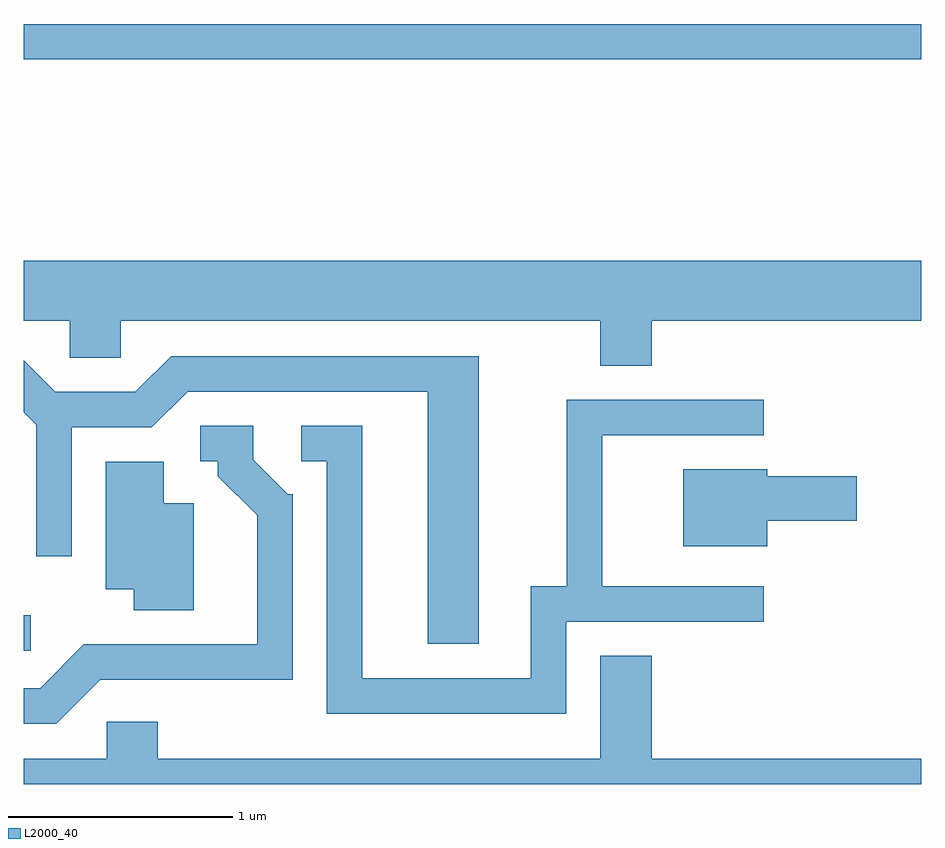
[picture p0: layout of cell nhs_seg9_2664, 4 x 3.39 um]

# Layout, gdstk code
import gdstk
lib = gdstk.Library(unit=1e-6, precision=1e-09)
def R(c, l, rs):  # rectangles x0, y0, x1, y1
    for r in rs: c.add(gdstk.rectangle(r[:2], r[2:], *l))
def P(c, l, *ps):  # polygons
    for p in ps: c.add(gdstk.Polygon(p, *l))
L2000_40 = (2000, 40)

nhs_seg9_2664 = lib.new_cell('nhs_seg9_2664')
R(nhs_seg9_2664, L2000_40, [(263.611,1977.026,263.643,1977.184), (263.611,1979.661,267.611,1979.819)])
P(nhs_seg9_2664, L2000_40, [(266.409,1978.496),(267.611,1978.496),(267.611,1978.764),(263.611,1978.764),(263.611,1978.496),(263.816,1978.496),(263.816,1978.331),(264.044,1978.331),(264.044,1978.496),(266.181,1978.496),(266.181,1978.296),(266.409,1978.296)],
  [(265.639,1978.339),(264.269,1978.339),(264.109,1978.179),(263.752,1978.179),(263.611,1978.32),(263.611,1978.089),(263.666,1978.034),(263.666,1977.448),(263.824,1977.448),(263.824,1978.021),(264.182,1978.021),(264.342,1978.181),(265.411,1978.181),(265.411,1977.056),(265.639,1977.056)],
  [(266.029,1977.156),(266.908,1977.156),(266.908,1977.314),(266.189,1977.314),(266.189,1977.986),(266.908,1977.986),(266.908,1978.144),(266.031,1978.144),(266.031,1977.314),(265.871,1977.314),(265.871,1976.904),(265.119,1976.904),(265.119,1978.029),(264.848,1978.029),(264.848,1977.871),(264.961,1977.871),(264.961,1976.746),(266.029,1976.746)],
  [(263.952,1976.896),(264.809,1976.896),(264.809,1977.724),(264.787,1977.724),(264.634,1977.877),(264.634,1978.029),(264.398,1978.029),(264.398,1977.871),(264.476,1977.871),(264.476,1977.804),(264.651,1977.629),(264.651,1977.054),(263.879,1977.054),(263.684,1976.859),(263.611,1976.859),(263.611,1976.701),(263.757,1976.701)],
  [(264.369,1977.684),(264.234,1977.684),(264.234,1977.869),(263.976,1977.869),(263.976,1977.301),(264.101,1977.301),(264.101,1977.206),(264.369,1977.206)],
  [(266.924,1977.606),(267.324,1977.606),(267.324,1977.804),(266.924,1977.804),(266.924,1977.834),(266.551,1977.834),(266.551,1977.491),(266.924,1977.491)],
  [(267.611,1976.544),(266.409,1976.544),(266.409,1977.004),(266.181,1977.004),(266.181,1976.544),(264.209,1976.544),(264.209,1976.709),(263.981,1976.709),(263.981,1976.544),(263.611,1976.544),(263.611,1976.432),(267.611,1976.432)])

lib.write_gds('nhs_seg9_2664.gds')
